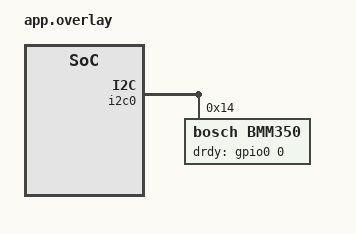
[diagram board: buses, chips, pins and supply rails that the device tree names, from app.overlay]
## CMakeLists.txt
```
# Copyright (c) 2026 Meta Platforms
# SPDX-License-Identifier: Apache-2.0

cmake_minimum_required(VERSION 3.28.0)
find_package(Zephyr REQUIRED HINTS $ENV{ZEPHYR_BASE})
project(bmm350)

target_sources(app PRIVATE src/main.c)
```

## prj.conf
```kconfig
# Copyright (c) 2026 Meta Platforms
# SPDX-License-Identifier: Apache-2.0

CONFIG_ZTEST=y

CONFIG_GPIO=y
CONFIG_GPIO_EMUL=y
CONFIG_SENSOR=y
CONFIG_EMUL=y
CONFIG_BMM350_TRIGGER_GLOBAL_THREAD=y

CONFIG_I2C_LOG_LEVEL_WRN=y
CONFIG_SENSOR_LOG_LEVEL_WRN=y
```

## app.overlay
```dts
/* Copyright (c) 2026 Meta Platforms
 * SPDX-License-Identifier: Apache-2.0
 */

#include <zephyr/dt-bindings/gpio/gpio.h>

&i2c0 {
	bmm350: bmm350@14 {
		compatible = "bosch,bmm350";
		reg = <0x14>;
		drdy-gpios = <&gpio0 0 GPIO_ACTIVE_HIGH>;
	};
};
```

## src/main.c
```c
/*
 * Copyright (c) 2026 Meta Platforms
 * SPDX-License-Identifier: Apache-2.0
 */

#include <zephyr/devicetree.h>
#include <zephyr/drivers/emul.h>
#include <zephyr/drivers/sensor.h>
#include <zephyr/drivers/sensor/bmm350.h>
#include <zephyr/ztest.h>
#include <zephyr/drivers/gpio/gpio_emul.h>

#include "bmm350.h"
#include "bmm350_emul.h"

struct bmm350_fixture {
	const struct device *dev;
	const struct emul *target;
};

static void *bmm350_setup(void)
{
	static struct bmm350_fixture fixture = {
		.dev = DEVICE_DT_GET(DT_NODELABEL(bmm350)),
		.target = EMUL_DT_GET(DT_NODELABEL(bmm350)),
	};

	zassert_not_null(fixture.dev);
	zassert_not_null(fixture.target);
	return &fixture;
}

static void bmm350_before(void *f)
{
	struct bmm350_fixture *fixture = f;

	/* Start each test from a clean register file. */
	bmm350_emul_set_mag_raw(fixture->target, 0, 0, 0);
	bmm350_emul_set_temp_raw(fixture->target, 0);
	bmm350_emul_set_drdy_int_status(fixture->target, false);
}

ZTEST_SUITE(bmm350, NULL, bmm350_setup, bmm350_before, NULL, NULL);

/* The driver must have initialised against the emulated chip (chip-id, OTP, reset). */
ZTEST_F(bmm350, test_device_ready)
{
	zassert_true(device_is_ready(fixture->dev), "BMM350 device not ready");
}

/* Expected channel value (Gauss) for a given raw axis sample, with zero OTP trim. */
static double expected_mag_gauss(int32_t raw, int32_t coeff)
{
	int32_t micro_tesla = (int32_t)(((int64_t)raw * coeff) / BMM350_LSB_TO_UT_COEFF_DIV);

	return (double)micro_tesla / 100.0;
}

ZTEST_F(bmm350, test_fetch_mag)
{
	const int32_t raw_x = 10000;
	const int32_t raw_y = 20000;
	const int32_t raw_z = -15000;
	struct sensor_value val[3];

	bmm350_emul_set_mag_raw(fixture->target, raw_x, raw_y, raw_z);

	zassert_ok(sensor_sample_fetch(fixture->dev));
	zassert_ok(sensor_channel_get(fixture->dev, SENSOR_CHAN_MAGN_XYZ, val));

	zassert_within(sensor_value_to_double(&val[0]),
		       expected_mag_gauss(raw_x, BMM350_LSB_TO_UT_XY_COEFF), 0.01, "X mismatch");
	zassert_within(sensor_value_to_double(&val[1]),
		       expected_mag_gauss(raw_y, BMM350_LSB_TO_UT_XY_COEFF), 0.01, "Y mismatch");
	zassert_within(sensor_value_to_double(&val[2]),
		       expected_mag_gauss(raw_z, BMM350_LSB_TO_UT_Z_COEFF), 0.01, "Z mismatch");
}

ZTEST_F(bmm350, test_fetch_mag_single_channels)
{
	struct sensor_value val;

	bmm350_emul_set_mag_raw(fixture->target, 30000, 0, 0);
	zassert_ok(sensor_sample_fetch(fixture->dev));

	zassert_ok(sensor_channel_get(fixture->dev, SENSOR_CHAN_MAGN_X, &val));
	zassert_within(sensor_value_to_double(&val),
		       expected_mag_gauss(30000, BMM350_LSB_TO_UT_XY_COEFF), 0.01, "X mismatch");
}

ZTEST_F(bmm350, test_die_temp)
{
	/* raw 50490 -> 50490/10 - 25.49 = 25.00 degC */
	struct sensor_value val;

	bmm350_emul_set_temp_raw(fixture->target, 50490);

	zassert_ok(sensor_sample_fetch(fixture->dev));
	zassert_ok(sensor_channel_get(fixture->dev, SENSOR_CHAN_DIE_TEMP, &val));

	zassert_within(sensor_value_to_double(&val), 25.0, 0.05, "temperature mismatch: %d.%06d",
		       val.val1, val.val2);
}

ZTEST_F(bmm350, test_attr_sampling_frequency)
{
	struct sensor_value odr = {.val1 = 100, .val2 = 0};
	struct sensor_value read_back;

	zassert_ok(sensor_attr_set(fixture->dev, SENSOR_CHAN_MAGN_XYZ,
				   SENSOR_ATTR_SAMPLING_FREQUENCY, &odr));
	zassert_ok(sensor_attr_get(fixture->dev, SENSOR_CHAN_MAGN_XYZ,
				   SENSOR_ATTR_SAMPLING_FREQUENCY, &read_back));

	zassert_equal(read_back.val1, 100, "expected 100 Hz, got %d.%06d", read_back.val1,
		      read_back.val2);
}

/*
 * Drive the full self-test PMU/forced-mode handshake against the emulator, which
 * models an excitation response on each axis. bmm350_self_test() reports the raw
 * deltas; here we check they exceed the datasheet minimum (260 uT).
 */
ZTEST_F(bmm350, test_self_test)
{
	struct bmm350_self_test_result result = {0};

	zassert_ok(bmm350_self_test(fixture->dev, &result));
	zassert_true(result.x_delta >= 260, "x_delta=%d too small", result.x_delta);
	zassert_true(result.y_delta >= 260, "y_delta=%d too small", result.y_delta);
}

static K_SEM_DEFINE(drdy_sem, 0, 1);

static void test_drdy_handler(const struct device *dev, const struct sensor_trigger *trig)
{
	ARG_UNUSED(dev);
	ARG_UNUSED(trig);

	k_sem_give(&drdy_sem);
}

ZTEST_F(bmm350, test_drdy_trigger_clears_int_status)
{
	const struct gpio_dt_spec drdy = GPIO_DT_SPEC_GET(DT_NODELABEL(bmm350), drdy_gpios);
	static const struct sensor_trigger trig = {
		.type = SENSOR_TRIG_DATA_READY,
		.chan = SENSOR_CHAN_ALL,
	};

	k_sem_reset(&drdy_sem);
	zassert_ok(sensor_trigger_set(fixture->dev, &trig, test_drdy_handler));

	bmm350_emul_set_drdy_int_status(fixture->target, true);
	zassert_ok(gpio_emul_input_set(drdy.port, drdy.pin, 0));
	zassert_ok(gpio_emul_input_set(drdy.port, drdy.pin, 1));

	zassert_ok(k_sem_take(&drdy_sem, K_MSEC(100)), "DRDY handler did not run");
	zassert_false(bmm350_emul_get_drdy_int_status(fixture->target),
		      "INT_STATUS.drdy_data_reg was not cleared on read");

	zassert_ok(gpio_emul_input_set(drdy.port, drdy.pin, 0));
	zassert_ok(sensor_trigger_set(fixture->dev, &trig, NULL));
}
```
